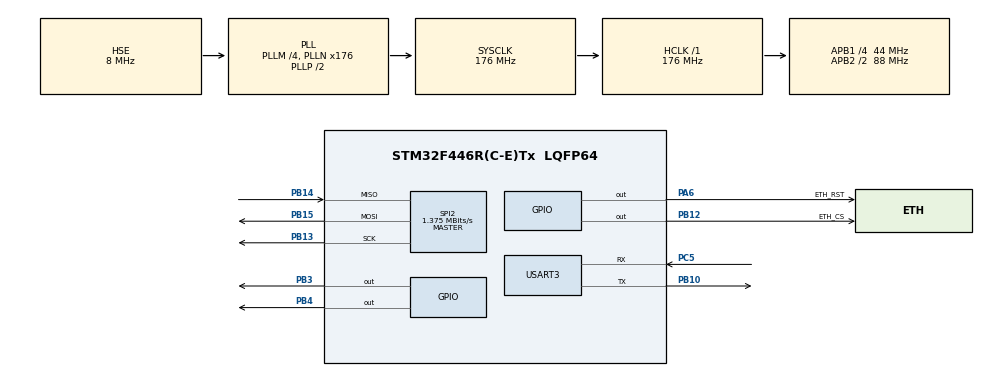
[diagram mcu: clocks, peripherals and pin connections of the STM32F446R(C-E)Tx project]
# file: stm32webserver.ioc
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Mcu.Family=STM32F4
Mcu.Name=STM32F446R(C-E)Tx
Mcu.Package=LQFP64
NVIC.PriorityGroup=NVIC_PRIORITYGROUP_4
NVIC.SPI2_IRQn=true\:0\:0\:false\:false\:true\:true\:true\:true
PA6.GPIO_Label=ETH_RST
PA6.Signal=GPIO_Output
PB10.Mode=Asynchronous
PB10.Signal=USART3_TX
PB12.GPIO_Label=ETH_CS
PB12.Signal=GPIO_Output
PB13.Mode=Full_Duplex_Master
PB13.Signal=SPI2_SCK
PB14.Mode=Full_Duplex_Master
PB14.Signal=SPI2_MISO
PB15.Mode=Full_Duplex_Master
PB15.Signal=SPI2_MOSI
PB3.Signal=GPIO_Output
PB4.Signal=GPIO_Output
PC14-OSC32_IN.Mode=LSE-External-Oscillator
PC14-OSC32_IN.Signal=RCC_OSC32_IN
PC15-OSC32_OUT.Mode=LSE-External-Oscillator
PC15-OSC32_OUT.Signal=RCC_OSC32_OUT
PC5.Mode=Asynchronous
PC5.Signal=USART3_RX
PH0-OSC_IN.Mode=HSE-External-Oscillator
PH0-OSC_IN.Signal=RCC_OSC_IN
PH1-OSC_OUT.Mode=HSE-External-Oscillator
PH1-OSC_OUT.Signal=RCC_OSC_OUT
ProjectManager.HeapSize=0x200
ProjectManager.StackSize=0x400
ProjectManager.TargetToolchain=STM32CubeIDE
RCC.AHBFreq_Value=176000000
RCC.APB1CLKDivider=RCC_HCLK_DIV4
RCC.APB1Freq_Value=44000000
RCC.APB1TimFreq_Value=88000000
RCC.APB2CLKDivider=RCC_HCLK_DIV2
RCC.APB2Freq_Value=88000000
RCC.APB2TimFreq_Value=176000000
RCC.CortexFreq_Value=176000000
RCC.HCLKFreq_Value=176000000
RCC.HSE_VALUE=8000000
RCC.PLLM=4
RCC.PLLN=176
RCC.PLLSourceVirtual=RCC_PLLSOURCE_HSE
RCC.SYSCLKFreq_VALUE=176000000
RCC.SYSCLKSource=RCC_SYSCLKSOURCE_PLLCLK
RCC.USBFreq_Value=176000000
RCC.VCOOutputFreq_Value=352000000
SPI2.BaudRatePrescaler=SPI_BAUDRATEPRESCALER_32
SPI2.CLKPhase=SPI_PHASE_1EDGE
SPI2.CalculateBaudRate=1.375 MBits/s
SPI2.Direction=SPI_DIRECTION_2LINES
SPI2.Mode=SPI_MODE_MASTER
SPI2.VirtualType=VM_MASTER
USART3.VirtualMode=VM_ASYNC
board=custom

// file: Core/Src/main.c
/* USER CODE BEGIN Header */
/**
  ******************************************************************************
  * @file           : main.c
  * @brief          : Main program body
  ******************************************************************************
  * @attention
  *
  * Copyright (c) 2026 STMicroelectronics.
  * All rights reserved.
  *
  * This software is licensed under terms that can be found in the LICENSE file
  * in the root directory of this software component.
  * If no LICENSE file comes with this software, it is provided AS-IS.
  *
  ******************************************************************************
  */
/* USER CODE END Header */
#include "main.h"
#include "spi.h"
#include "usart.h"
#include "gpio.h"

/* USER CODE BEGIN Includes */
#include <stdio.h>
#include <string.h>
#include "wizchip_conf.h"
#include "w5500.h"
#include "socket.h"
#include "webpage.h"
/* USER CODE END Includes */

/* USER CODE BEGIN PV */
uint8_t g_ver = 0;
/* USER CODE END PV */

void SystemClock_Config(void);

/* USER CODE BEGIN 0 */
int __io_putchar(int ch)
{
    HAL_UART_Transmit(&huart3, (uint8_t *)&ch, 1, 100);
    return ch;
}

void cs_select(void)
{
    HAL_GPIO_WritePin(ETH_CS_GPIO_Port, ETH_CS_Pin, GPIO_PIN_RESET); // ✅ LOW
}

void cs_deselect(void)
{
    HAL_GPIO_WritePin(ETH_CS_GPIO_Port, ETH_CS_Pin, GPIO_PIN_SET);   // ✅ HIGH
}
uint8_t spi_readbyte(void)
{
    uint8_t tx = 0xFF;
    uint8_t rx = 0;
    HAL_SPI_TransmitReceive(&hspi2, &tx, &rx, 1, 100);
    HAL_Delay(1);
    return rx;
}

void spi_writebyte(uint8_t wb)
{
    HAL_SPI_Transmit(&hspi2, &wb, 1, 100);
}

/* USER CODE END 0 */

int main(void)
{

  /* MCU Configuration--------------------------------------------------------*/

  /* Reset of all peripherals, Initializes the Flash interface and the Systick. */
  HAL_Init();

  /* Configure the system clock */
  SystemClock_Config();

  /* Initialize all configured peripherals */
  MX_GPIO_Init();
  MX_SPI2_Init();
  MX_USART3_UART_Init();
  /* USER CODE BEGIN 2 */

  printf("UART3 Working\r\n");

  /* Ensure CS idle HIGH */
  HAL_GPIO_WritePin(ETH_CS_GPIO_Port, ETH_CS_Pin, GPIO_PIN_SET);

  /* Register SPI callbacks */
  reg_wizchip_cs_cbfunc(cs_select, cs_deselect);
  reg_wizchip_spi_cbfunc(spi_readbyte, spi_writebyte);

  /* Reset W5500 */
  HAL_GPIO_WritePin(ETH_RST_GPIO_Port, ETH_RST_Pin, GPIO_PIN_RESET);
  HAL_Delay(100);
  HAL_GPIO_WritePin(ETH_RST_GPIO_Port, ETH_RST_Pin, GPIO_PIN_SET);
  HAL_Delay(200);

  /* Initialize W5500 internal memory */
  uint8_t txsize[8] = {2,2,2,2,2,2,2,2};
  uint8_t rxsize[8] = {2,2,2,2,2,2,2,2};
  wizchip_init(txsize, rxsize);

  /* Check chip version */
  for(int i=0;i<5;i++)
  {
      uint8_t ver = getVERSIONR();
      printf("Try %d: W5500 Version = 0x%02X\r\n", i, ver);
      HAL_Delay(100);
  }
  /* Network configuration */
  wiz_NetInfo netinfo = {
      .mac  = {0x00,0x08,0xDC,0x11,0x22,0x33},

      .ip   = {192,168,1,112},   // ✔ OK (same network)
      .sn   = {255,255,255,0},

      .gw   = {192,168,1,1},     // ✔ FIX THIS
      .dns  = {8,8,8,8},

      .dhcp = NETINFO_STATIC
  };

  /* Apply network config */
  wizchip_setnetinfo(&netinfo);
  printf("Network Configured\r\n");

  /* Read back network info */
  wiz_NetInfo checkinfo;
  wizchip_getnetinfo(&checkinfo);

  printf("IP: %d.%d.%d.%d\r\n",
         checkinfo.ip[0],
         checkinfo.ip[1],
         checkinfo.ip[2],
         checkinfo.ip[3]);

  printf("GW: %d.%d.%d.%d\r\n",
         checkinfo.gw[0],
         checkinfo.gw[1],
         checkinfo.gw[2],
         checkinfo.gw[3]);

  /* Check Ethernet cable */
  uint8_t phy;
  ctlwizchip(CW_GET_PHYLINK, (void*)&phy);

  if (phy == PHY_LINK_ON)
      printf("Ethernet Cable Connected\r\n");
  else
      printf("Ethernet Cable NOT Connected\r\n");
  uint8_t socket_num = 0;
  uint8_t buffer[512];
  socket(socket_num, Sn_MR_TCP, 80, 0);
  /* USER CODE END 2 */

  /* Infinite loop */
  while (1)
  {

    /* USER CODE BEGIN 3 */
	  switch(getSn_SR(socket_num))
	      {
	          case SOCK_INIT:
	              listen(socket_num);
	              break;

	          case SOCK_LISTEN:
	              break;

	          case SOCK_ESTABLISHED:

	          if(getSn_RX_RSR(socket_num) > 0)
	          {
	              memset(buffer,0,sizeof(buffer));

	              int len = recv(socket_num, buffer, sizeof(buffer)-1);

	              if(len > 0 && len < sizeof(buffer))
	                  buffer[len] = '\0';

	              printf("%s\r\n",buffer);

	              if (strstr((char*)buffer, "GET /data"))
	              {
	                  /* === REPLACE these with your real sensor reads === */
	            	  uint32_t t = HAL_GetTick();

	            	  float    temperature = 25.0f + (float)(t % 100) * 0.1f;
	            	  float    vibration   = 0.10f + (float)(t % 50)  * 0.01f;
	            	  uint16_t rpm         = 1400  + (t % 200);
	            	  char*    status      = (t % 9000 < 3000) ? "FAULT" :
	            	                         (t % 9000 < 6000) ? "WARN"  : "NORMAL";
	                  char json[128];
	                  snprintf(json, sizeof(json),
	                      "{\"temp\":%.1f,\"vib\":%.2f,\"rpm\":%u,\"status\":\"%s\"}",
	                      temperature, vibration, rpm, status);

	                  char hdr[128];
	                  snprintf(hdr, sizeof(hdr),
	                      "HTTP/1.1 200 OK\r\n"
	                      "Content-Type: application/json\r\n"
	                      "Access-Control-Allow-Origin: *\r\n"
	                      "Connection: close\r\n"
	                      "Content-Length: %d\r\n"
	                      "\r\n",
	                      (int)strlen(json));

	                  send(socket_num, (uint8_t*)hdr,  strlen(hdr));
	                  send(socket_num, (uint8_t*)json, strlen(json));
	                  disconnect(socket_num);
	                  break;   /* ← don't fall through to HTML */
	              }
	              if(strstr((char*)buffer,"PB3ON"))
	              HAL_GPIO_WritePin(GPIOB,GPIO_PIN_3,GPIO_PIN_SET);

	              if(strstr((char*)buffer,"PB3OFF"))
	              HAL_GPIO_WritePin(GPIOB,GPIO_PIN_3,GPIO_PIN_RESET);

	              if(strstr((char*)buffer,"PB4ON"))
	              HAL_GPIO_WritePin(GPIOB,GPIO_PIN_4,GPIO_PIN_SET);

	              if(strstr((char*)buffer,"PB4OFF"))
	              HAL_GPIO_WritePin(GPIOB,GPIO_PIN_4,GPIO_PIN_RESET);

	              char http_header[] =
	              "HTTP/1.1 200 OK\r\n"
	              "Content-Type: text/html\r\n"
	              "Connection: close\r\n"
	              "\r\n";

	              /* Send header */
	              send(socket_num, (uint8_t*)http_header, strlen(http_header));

	              /* Send webpage */
	              uint16_t sent = 0;

	              while(sent < index_html_len)
	              {
	                  uint16_t chunk = (index_html_len - sent > 1024) ? 1024 : (index_html_len - sent);

	                  send(socket_num, (uint8_t*)&index_html[sent], chunk);

	                  sent += chunk;
	              }
	              disconnect(socket_num);
	          }

	          	  break;

	          case SOCK_CLOSE_WAIT:
	              disconnect(socket_num);
	              break;

	          case SOCK_CLOSED:
	              socket(socket_num, Sn_MR_TCP, 80, 0);
	              break;
	      }

  }
  /* USER CODE END 3 */
}

void SystemClock_Config(void)
{
  RCC_OscInitTypeDef RCC_OscInitStruct = {0};
  RCC_ClkInitTypeDef RCC_ClkInitStruct = {0};

  /** Configure the main internal regulator output voltage
  */
  __HAL_RCC_PWR_CLK_ENABLE();
  __HAL_PWR_VOLTAGESCALING_CONFIG(PWR_REGULATOR_VOLTAGE_SCALE1);

  /** Initializes the RCC Oscillators according to the specified parameters
  * in the RCC_OscInitTypeDef structure.
  */
  RCC_OscInitStruct.OscillatorType = RCC_OSCILLATORTYPE_HSE;
  RCC_OscInitStruct.HSEState = RCC_HSE_ON;
  RCC_OscInitStruct.PLL.PLLState = RCC_PLL_ON;
  RCC_OscInitStruct.PLL.PLLSource = RCC_PLLSOURCE_HSE;
  RCC_OscInitStruct.PLL.PLLM = 4;
  RCC_OscInitStruct.PLL.PLLN = 176;
  RCC_OscInitStruct.PLL.PLLP = RCC_PLLP_DIV2;
  RCC_OscInitStruct.PLL.PLLQ = 2;
  RCC_OscInitStruct.PLL.PLLR = 2;
  if (HAL_RCC_OscConfig(&RCC_OscInitStruct) != HAL_OK)
  {
    Error_Handler();
  }

  /** Activate the Over-Drive mode
  */
  if (HAL_PWREx_EnableOverDrive() != HAL_OK)
  {
    Error_Handler();
  }

  /** Initializes the CPU, AHB and APB buses clocks
  */
  RCC_ClkInitStruct.ClockType = RCC_CLOCKTYPE_HCLK|RCC_CLOCKTYPE_SYSCLK
                              |RCC_CLOCKTYPE_PCLK1|RCC_CLOCKTYPE_PCLK2;
  RCC_ClkInitStruct.SYSCLKSource = RCC_SYSCLKSOURCE_PLLCLK;
  RCC_ClkInitStruct.AHBCLKDivider = RCC_SYSCLK_DIV1;
  RCC_ClkInitStruct.APB1CLKDivider = RCC_HCLK_DIV4;
  RCC_ClkInitStruct.APB2CLKDivider = RCC_HCLK_DIV2;

  if (HAL_RCC_ClockConfig(&RCC_ClkInitStruct, FLASH_LATENCY_5) != HAL_OK)
  {
    Error_Handler();
  }
}

void Error_Handler(void)
{
  __disable_irq();
  while (1)
  {
  }
}
